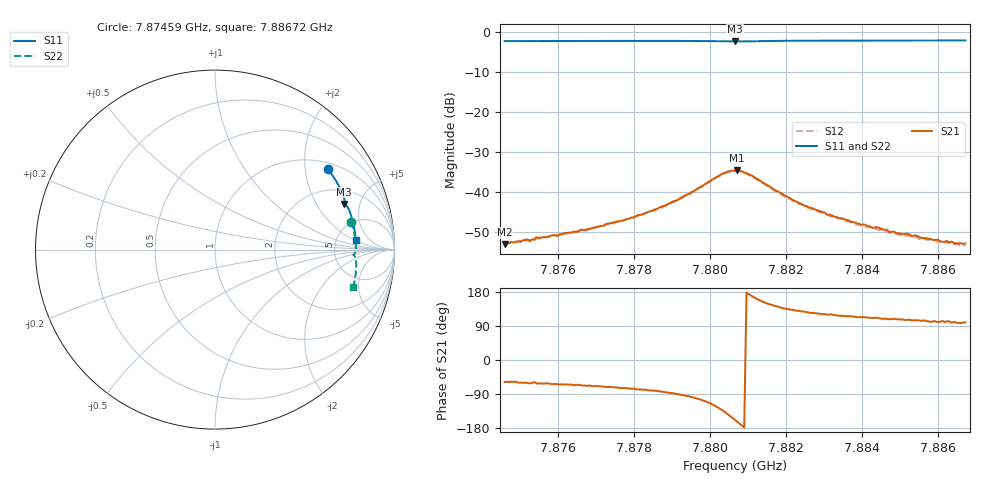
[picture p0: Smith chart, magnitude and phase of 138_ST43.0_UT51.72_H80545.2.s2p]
#  HZ  S  DB  R  50.00
! Rohde & Schwarz Vector Network Analyzer
! Rohde-Schwarz,ZNB20-2Port,1311601062101988,3.16
! Created: UTC 1/12/2023, 6:39:33 PM
! freq[Hz]  db:S11  ang:S11  db:S21  ang:S21  db:S12  ang:S12  db:S22  ang:S22
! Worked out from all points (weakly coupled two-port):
!   201 points, 7.87459 GHz to 7.88672 GHz, reference 50 ohm
!   highest |S21| = -34.52 dB at 7.88071 GHz (marker M1); lowest = -52.9 dB at 7.87459 GHz (marker M2)
!   lowest |S11| = -2.3 dB at 7.88065 GHz (marker M3), VSWR 7.46, Z = 145 + j178 ohm
!   |S11| at or under -10 dB: nowhere
!   |S22| runs from -2.3 to -2.0 dB; largest |S21 - S12| = 0.0013
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7.874586e9  -2.25 35.5  -52.93 -58.5  -52.55 -62.2  -2.20 11.5
7.875132e9  -2.24 34.1  -51.78 -59.7  -52.05 -61.4  -2.18 10.2
7.875253e9  -2.23 33.7  -52.21 -61.9  -51.85 -61.9  -2.18 9.9
7.875435e9  -2.23 33.2  -51.21 -61.9  -51.38 -66.3  -2.17 9.5
7.875981e9  -2.22 31.7  -50.86 -63.9  -50.60 -66.7  -2.16 8.1
7.876648e9  -2.21 29.9  -49.38 -67.3  -49.47 -71.0  -2.14 6.6
7.877983e9  -2.19 26.2  -46.29 -75.4  -46.17 -78.6  -2.12 3.5
7.87865e9  -2.19 24.4  -43.82 -82.4  -44.01 -86.0  -2.10 1.9
7.879135e9  -2.20 23.0  -41.94 -90.0  -42.05 -92.8  -2.11 0.7
7.880287e9  -2.31 19.9  -35.52 -130.6  -35.74 -134.2  -2.21 -1.9
7.880651e9  -2.34 19.5  -34.57 -158.2  -34.64 -161.7  -2.25 -2.2
7.880712e9  -2.34 19.5  -34.52 -163.2  -34.69 -166.7  -2.26 -2.2
7.881076e9  -2.29 19.0  -35.73 170.0  -35.94 166.8  -2.20 -2.5
7.882046e9  -2.17 16.4  -41.16 134.4  -41.50 130.8  -2.06 -4.6
7.882714e9  -2.15 14.5  -44.09 124.5  -44.29 120.7  -2.03 -6.1
7.883805e9  -2.12 11.6  -47.48 114.4  -47.91 110.5  -2.00 -8.7
7.884655e9  -2.11 9.4  -49.32 108.4  -49.77 105.3  -1.98 -10.5
7.884715e9  -2.11 9.2  -49.93 107.2  -50.05 105.1  -1.98 -10.8
7.8852e9  -2.10 7.9  -50.39 106.2  -50.90 104.0  -1.98 -11.8
7.88611e9  -2.09 5.5  -52.35 103.1  -52.31 99.2  -1.96 -13.8
7.886595e9  -2.09 4.3  -52.67 97.4  -53.41 96.6  -1.96 -14.8
7.886717e9  -2.09 4.0  -52.72 99.2  -53.19 93.9  -1.96 -15.0
